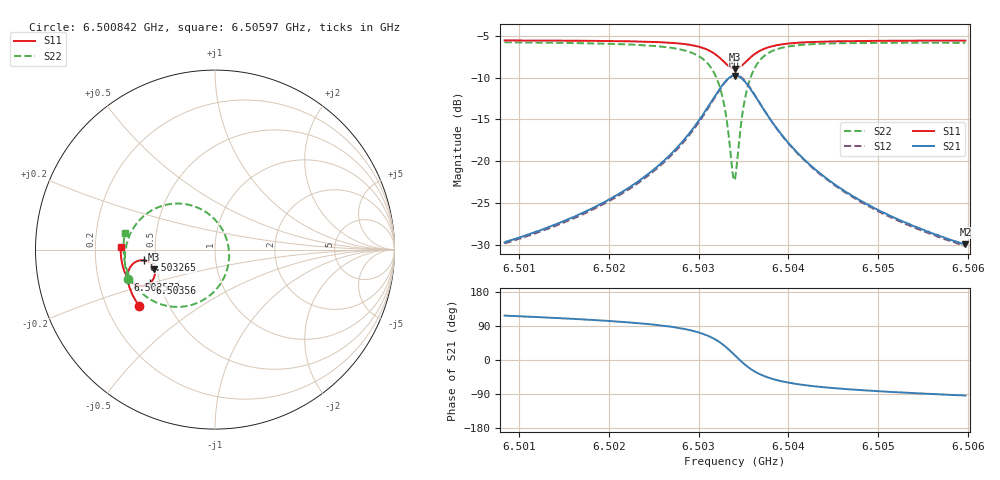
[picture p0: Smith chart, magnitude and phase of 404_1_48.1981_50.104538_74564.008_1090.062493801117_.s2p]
#  HZ  S  RI  R  50.00
! Rohde & Schwarz Vector Network Analyzer
! Rohde-Schwarz,ZNB20-2Port,1311601062101988,3.16
! Created: UTC 3/20/2024, 11:54:08 AM
! freq[Hz]  re:S11  im:S11  re:S21  im:S21  re:S12  im:S12  re:S22  im:S22
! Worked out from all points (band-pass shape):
!   401 points, 6.500842 GHz to 6.50597 GHz, reference 50 ohm
!   highest |S21| = -9.76 dB at 6.503406 GHz (marker M1); lowest = -29.9 dB at 6.50597 GHz (marker M2)
!   |S21| within 3 dB of the highest: 6.50315 GHz to 6.503663 GHz (512.5 kHz wide, 0.00788 % of centre)
!   lowest |S11| = -9.0 dB at 6.503406 GHz (marker M3), VSWR 2.10, Z = 24.2 - j6.04 ohm
!   |S11| at or under -10 dB: nowhere
!   |S22| runs from -22.3 to -5.8 dB; largest |S21 - S12| = 0.011
!   S11 on the Smith chart (normalised r, x): 6.500842 GHz: 0.34, -0.30; 6.502573 GHz: 0.33, -0.15; 6.503265 GHz: 0.43, -0.06; 6.50356 GHz: 0.44, -0.20; 6.50597 GHz: 0.31, +0.01
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6.5008423e9  -0.4212 -0.3159  -0.0149 0.0291  -0.0134 0.0294  -0.4865 -0.1642
6.5017012e9  -0.4589 -0.2532  -0.0145 0.0467  -0.0121 0.0463  -0.5013 -0.0748
6.5021755e9  -0.476 -0.2118  -0.0117 0.0658  -0.00886 0.0648  -0.4995 -0.00867
6.50256e9  -0.4856 -0.1702  -0.00306 0.0948  0.000534 0.0925  -0.4812 0.0662
6.5025728e9  -0.4857 -0.1685  -0.0025 0.0961  0.00107 0.0938  -0.48 0.0692
6.5028292e9  -0.4847 -0.1312  0.0171 0.1314  0.021 0.1275  -0.4385 0.1431
6.5029959e9  -0.4738 -0.1002  0.0501 0.1651  0.0532 0.1597  -0.3739 0.2047
6.5031625e9  -0.4391 -0.0671  0.1271 0.1986  0.1283 0.1922  -0.2327 0.2558
6.5032651e9  -0.3967 -0.0601  0.2119 0.19  0.2121 0.1847  -0.0852 0.2286
6.5033163e9  -0.3714 -0.0685  0.26 0.1624  0.2607 0.1578  -0.00517 0.1719
6.5033804e9  -0.3449 -0.0947  0.3076 0.0996  0.3101 0.0946  0.0668 0.0511
6.5034061e9  -0.3385 -0.109  0.3178 0.0679  0.3209 0.062  0.0777 -0.00803
6.5034317e9  -0.3355 -0.1245  0.3217 0.0346  0.325 0.0278  0.0762 -0.0686
6.5034958e9  -0.3423 -0.1613  0.3041 -0.0427  0.3061 -0.0524  0.0221 -0.2026
6.5035599e9  -0.3632 -0.1869  0.2619 -0.0964  0.2609 -0.1074  -0.0728 -0.2849
6.5036624e9  -0.4023 -0.2021  0.1881 -0.1325  0.1831 -0.1418  -0.2212 -0.3192
6.5038291e9  -0.448 -0.1924  0.1074 -0.1298  0.1006 -0.1348  -0.3667 -0.2734
6.5040085e9  -0.4752 -0.1712  0.0635 -0.1103  0.0573 -0.1124  -0.438 -0.2095
6.5042649e9  -0.4959 -0.1411  0.0335 -0.0863  0.029 -0.0869  -0.4813 -0.138
6.5046495e9  -0.5115 -0.1014  0.0147 -0.0634  0.0116 -0.0631  -0.5036 -0.0634
6.5051237e9  -0.5209 -0.058  0.00498 -0.0472  0.00285 -0.0465  -0.5099 0.00228
6.5059698e9  -0.5257 0.0134  -0.00212 -0.0318  -0.00339 -0.0309  -0.5017 0.0906
